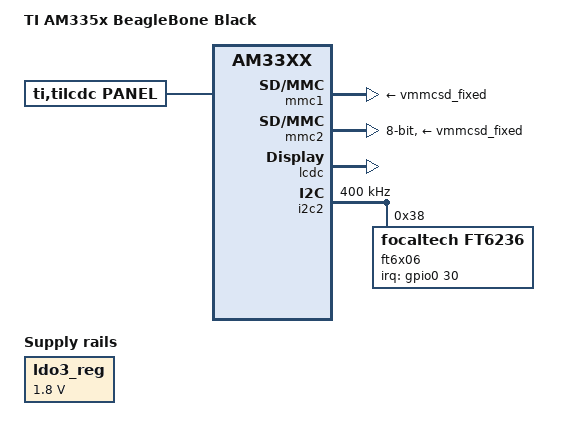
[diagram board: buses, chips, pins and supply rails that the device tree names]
/*
 * Copyright (C) 2012 Texas Instruments Incorporated - http://www.ti.com/
 *
 * This program is free software; you can redistribute it and/or modify
 * it under the terms of the GNU General Public License version 2 as
 * published by the Free Software Foundation.
 */
/dts-v1/;

#include "am33xx.dtsi"
#include "am335x-bone-common.dtsi"

/ {
	model = "TI AM335x BeagleBone Black";
	compatible = "ti,am335x-bone-black", "ti,am335x-bone", "ti,am33xx";
};

&ldo3_reg {
	regulator-min-microvolt = <1800000>;
	regulator-max-microvolt = <1800000>;
	regulator-always-on;
};

&mmc1 {
	vmmc-supply = <&vmmcsd_fixed>;
};

&mmc2 {
	vmmc-supply = <&vmmcsd_fixed>;
	pinctrl-names = "default";
	pinctrl-0 = <&emmc_pins>;
	bus-width = <8>;
	status = "okay";
};

&am33xx_pinmux {
	lcd_pins_default: lcd_pins_default {
		pinctrl-single,pins = <
			0xe0 ( PIN_OUTPUT | MUX_MODE0 ) /* (U5) lcd_vsync.lcd_vsync */
			0xe4 ( PIN_OUTPUT | MUX_MODE0 ) /* (R5) lcd_hsync.lcd_hsync */
			0xe8 ( PIN_OUTPUT | MUX_MODE0 ) /* (V5) lcd_pclk.lcd_pclk */
			0xec ( PIN_OUTPUT | MUX_MODE0 ) /* (R6) lcd_ac_bias_en.lcd_ac_bias_en */
			0xa0 ( PIN_OUTPUT | MUX_MODE0 ) /* (R1) lcd_data0.lcd_data0 */
			0xa4 ( PIN_OUTPUT | MUX_MODE0 ) /* (R2) lcd_data1.lcd_data1 */
			0xa8 ( PIN_OUTPUT | MUX_MODE0 ) /* (R3) lcd_data2.lcd_data2 */
			0xac ( PIN_OUTPUT | MUX_MODE0 ) /* (R4) lcd_data3.lcd_data3 */
			0xb0 ( PIN_OUTPUT | MUX_MODE0 ) /* (T1) lcd_data4.lcd_data4 */
			0xb4 ( PIN_OUTPUT | MUX_MODE0 ) /* (T2) lcd_data5.lcd_data5 */
			0xb8 ( PIN_OUTPUT | MUX_MODE0 ) /* (T3) lcd_data6.lcd_data6 */
			0xbc ( PIN_OUTPUT | MUX_MODE0 ) /* (T4) lcd_data7.lcd_data7 */
			0xc0 ( PIN_OUTPUT | MUX_MODE0 ) /* (U1) lcd_data8.lcd_data8 */
			0xc4 ( PIN_OUTPUT | MUX_MODE0 ) /* (U2) lcd_data9.lcd_data9 */
			0xc8 ( PIN_OUTPUT | MUX_MODE0 ) /* (U3) lcd_data10.lcd_data10 */
			0xcc ( PIN_OUTPUT | MUX_MODE0 ) /* (U4) lcd_data11.lcd_data11 */
			0xd0 ( PIN_OUTPUT | MUX_MODE0 ) /* (V2) lcd_data12.lcd_data12 */
			0xd4 ( PIN_OUTPUT | MUX_MODE0 ) /* (V3) lcd_data13.lcd_data13 */
			0xd8 ( PIN_OUTPUT | MUX_MODE0 ) /* (V4) lcd_data14.lcd_data14 */
			0xdc ( PIN_OUTPUT | MUX_MODE0 ) /* (T5) lcd_data15.lcd_data15 */
			0x3c ( PIN_OUTPUT | MUX_MODE1 ) /* (U13) gpmc_ad15.lcd_data16 */
			0x38 ( PIN_OUTPUT | MUX_MODE1 ) /* (V13) gpmc_ad14.lcd_data17 */
			0x34 ( PIN_OUTPUT | MUX_MODE1 ) /* (R12) gpmc_ad13.lcd_data18 */
			0x30 ( PIN_OUTPUT | MUX_MODE1 ) /* (T12) gpmc_ad12.lcd_data19 */
			0x2c ( PIN_OUTPUT | MUX_MODE1 ) /* (U12) gpmc_ad11.lcd_data20 */
			0x28 ( PIN_OUTPUT | MUX_MODE1 ) /* (T11) gpmc_ad10.lcd_data21 */
			0x24 ( PIN_OUTPUT | MUX_MODE1 ) /* (T10) gpmc_ad9.lcd_data22 */
			0x20 ( PIN_OUTPUT | MUX_MODE1 ) /* (U10) gpmc_ad8.lcd_data23 */
		>;
	};

	touch_pins_default: touch_pins_default {
		pinctrl-single,pins = <
			0x17c ( PIN_INPUT_PULLUP | MUX_MODE3 ) /* (D17) uart1_rtsn.I2C2_SCL */
			0x178 ( PIN_INPUT_PULLUP | MUX_MODE3 ) /* (D18) uart1_ctsn.I2C2_SDA */
			0x70 ( PIN_INPUT | MUX_MODE7 ) /* (T17) gpmc_wait0.gpio0[30] */
			0x74 ( PIN_OUTPUT | MUX_MODE7 ) /* (U17) gpmc_wpn.gpio0[31] */
		>;
	};
};


&lcdc {
	status = "okay";
};

&i2c2 {
	status = "okay";
	pinctrl-names = "default";
	pinctrl-0 = <&touch_pins_default>;
	clock-frequency = <400000>;
	ft6x06: ft6x06@38 {
		compatible = "focaltech,ft6236";
		reg = <0x38>;
		status = "okay";
		interrupt-parent = <&gpio0>;
		interrupts = <30 2>;
		touchscreen-size-x = <320>;
		touchscreen-size-y = <240>;
	};
};

/ {

panel {
                compatible = "ti,tilcdc,panel";
                status = "okay";
                pinctrl-names = "default";
                pinctrl-0 = <&lcd_pins_default>;
                panel-info {
                        ac-bias           = <255>;
                        ac-bias-intrpt    = <0>;
                        dma-burst-sz      = <16>;
                        bpp               = <24>;
                        fdd               = <0x80>;
                        sync-edge         = <0>;
                        sync-ctrl         = <1>;
                        raster-order      = <0>;
                        fifo-th           = <0>;
						tft-alt-mode      = <0>;
						stn-565-mode      = <0>;
						mono-8bit-mode    = <0>;
						invert-pxl-clk;
                };

		display-timings {
		 	320x240x62 {
				clock-frequency = <6500000>;
				hactive = <320>;
				vactive = <240>;
				hfront-porch = <20>;
				hback-porch = <64>;
				hsync-len = <2>;
				vback-porch = <14>;
				vfront-porch = <20>;
				vsync-len = <4>;
				hsync-active = <0>;
				vsync-active = <0>;
			};
                };
        };

};

